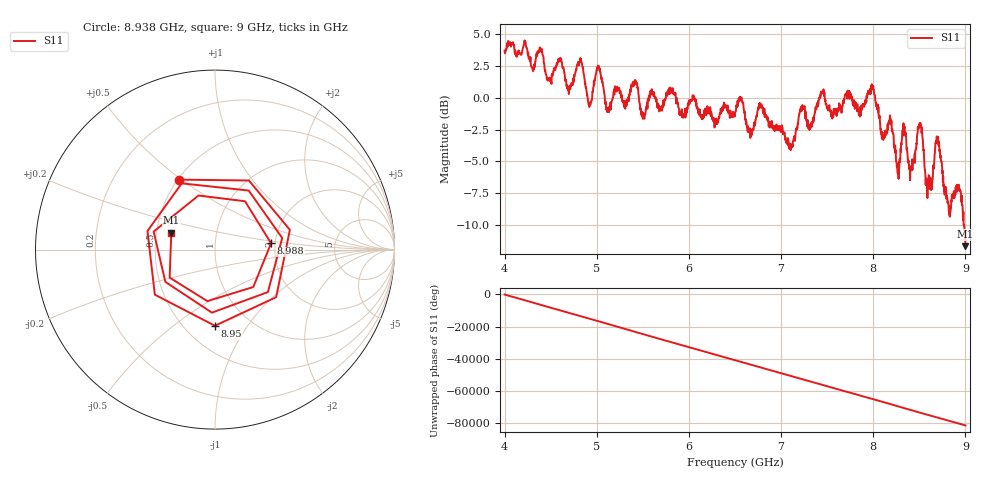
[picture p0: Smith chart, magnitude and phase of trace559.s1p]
! Created with skrf 1.8.0 (http://scikit-rf.org).
# Hz S RI R 50.0
!freq ReS11 ImS11
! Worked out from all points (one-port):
!   1601 points, 4 GHz to 9 GHz, reference 50 ohm
!   lowest |S11| = -11.7 dB at 9 GHz (marker M1), VSWR 1.71, Z = 30 + j6.05 ohm
!   |S11| at or under -10 dB: 8.980909 GHz to 8.982737 GHz (1.829 MHz wide, 0.0204 % of centre); 8.98527 GHz to end of sweep
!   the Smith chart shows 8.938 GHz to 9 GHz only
!   S11 on the Smith chart (normalised r, x): 8.938 GHz: 0.51, +0.49; 8.95 GHz: 0.69, -0.72; 8.988 GHz: 1.90, +0.15; 9 GHz: 0.60, +0.12
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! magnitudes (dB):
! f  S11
! 4 GHz  3.7
! 4.625 GHz  2.5
! 4.697 GHz  0.3
! 4.825 GHz  2.9
! 4.925 GHz  -0.4
! 5.012 GHz  2.5
! 5.119 GHz  -0.8
! 5.25 GHz  0.3
! 5.875 GHz  -0.4
! 6.5 GHz  -1.2
! 6.669 GHz  -2.7
! 6.788 GHz  -0.6
! 7.125 GHz  -3.9
! 7.231 GHz  -0.6
! 7.75 GHz  0.3
! 7.991 GHz  1.0
! 8.266 GHz  -5.9
! 8.331 GHz  -2.8
! 8.375 GHz  -4.8
! 8.422 GHz  -4.8
! 8.506 GHz  -2.0
! 8.591 GHz  -7.0
! 8.697 GHz  -3.5
! 8.819 GHz  -8.8
! 8.938 GHz  -7.2
! 8.95 GHz  -7.4
! 8.988 GHz  -10.1
! 9 GHz  -11.7
